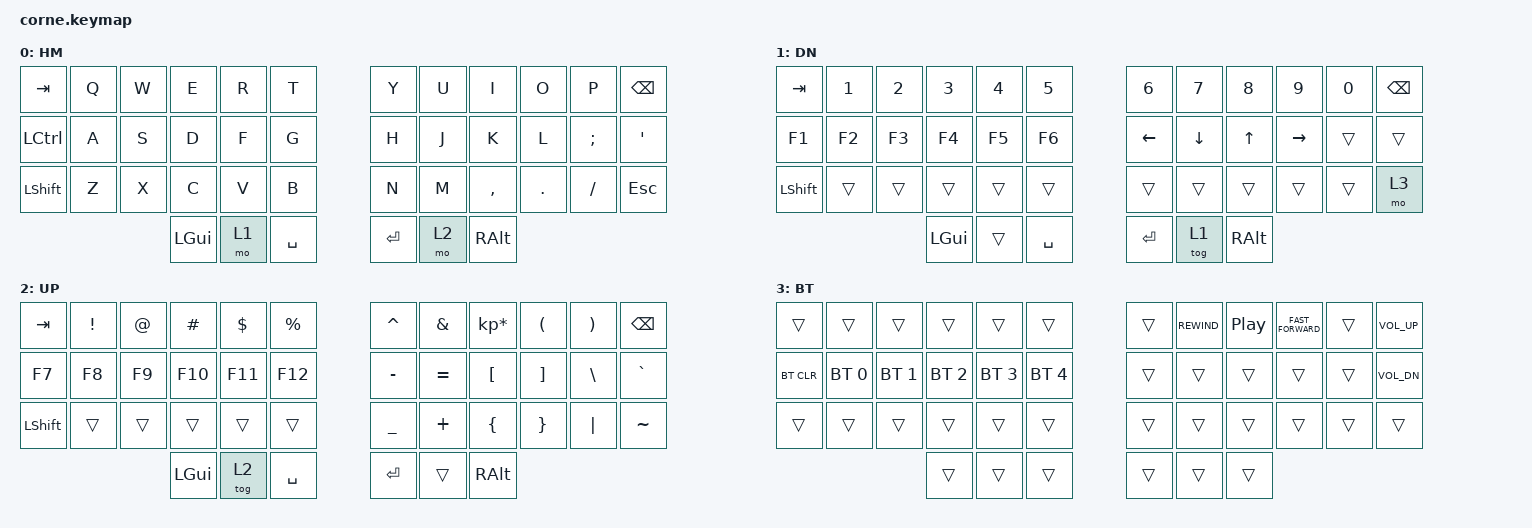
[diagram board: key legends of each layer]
/*
 * Copyright (c) 2020 The ZMK Contributors
 *
 * SPDX-License-Identifier: MIT
 */

#include <behaviors.dtsi>
#include <dt-bindings/zmk/bt.h>
#include <dt-bindings/zmk/keys.h>

/ {
    keymap {
        compatible = "zmk,keymap";

        default_layer {
            // -----------------------------------------------------------------------------------------
            // |  TAB |  Q  |  W  |  E  |  R  |  T  |   |  Y  |  U   |  I  |  O  |  P  | BKSP |
            // | CTRL |  A  |  S  |  D  |  F  |  G  |   |  H  |  J   |  K  |  L  |  ;  |  '   |
            // | SHFT |  Z  |  X  |  C  |  V  |  B  |   |  N  |  M   |  ,  |  .  |  /  | ESC  |
            //                    | GUI | LWR | SPC |   | ENT | RSE  | ALT |

            bindings = <
  &kp TAB  &kp Q  &kp W     &kp E  &kp R      &kp T      &kp Y  &kp U      &kp I    &kp O     &kp P  &kp BSPC
&kp LCTRL  &kp A  &kp S     &kp D  &kp F      &kp G      &kp H  &kp J      &kp K    &kp L  &kp SEMI   &kp SQT
&kp LSHFT  &kp Z  &kp X     &kp C  &kp V      &kp B      &kp N  &kp M  &kp COMMA  &kp DOT  &kp FSLH   &kp ESC
                         &kp LGUI  &mo 1  &kp SPACE    &kp RET  &mo 2   &kp RALT
            >;

            label = "HM";
        };

        lower_layer {
            // -----------------------------------------------------------------------------------------
            // |  TAB |  1  |  2  |  3  |  4  |  5  |   |  6  |  7  |  8  |  9  |  0  | BKSP |
            // | BTCLR| BT1 | BT2 | BT3 | BT4 | BT5 |   | LFT | DWN |  UP | RGT |     |      |
            // | SHFT |     |     |     |     |     |   |     |     |     |     |     |      |
            //                    | GUI |     | SPC |   | ENT |     | ALT |

            bindings = <
  &kp TAB  &kp N1  &kp N2    &kp N3  &kp N4     &kp N5      &kp N6    &kp N7    &kp N8     &kp N9  &kp N0  &kp BSPC
   &kp F1  &kp F2  &kp F3    &kp F4  &kp F5     &kp F6    &kp LEFT  &kp DOWN    &kp UP  &kp RIGHT  &trans    &trans
&kp LSHFT  &trans  &trans    &trans  &trans     &trans      &trans    &trans    &trans     &trans  &trans     &mo 3
                           &kp LGUI  &trans  &kp SPACE     &kp RET    &tog 1  &kp RALT
            >;

            label = "DN";
        };

        raise_layer {
            // -----------------------------------------------------------------------------------------
            // |  TAB |  !  |  @  |  #  |  $  |  %  |   |  ^  |  &  |  *  |  (  |  )  | BKSP |
            // | CTRL |     |     |     |     |     |   |  -  |  =  |  [  |  ]  |  \  |  `   |
            // | SHFT |     |     |     |     |     |   |  _  |  +  |  {  |  }  | "|" |  ~   |
            //                    | GUI |     | SPC |   | ENT |     | ALT |

            bindings = <
  &kp TAB  &kp EXCL  &kp AT  &kp HASH  &kp DLLR  &kp PRCNT    &kp CARET   &kp AMPS  &kp KP_MULTIPLY  &kp LPAR  &kp RPAR   &kp BSPC
   &kp F7    &kp F8  &kp F9   &kp F10   &kp F11    &kp F12    &kp MINUS  &kp EQUAL         &kp LBKT  &kp RBKT  &kp BSLH  &kp GRAVE
&kp LSHFT    &trans  &trans    &trans    &trans     &trans    &kp UNDER   &kp PLUS         &kp LBRC  &kp RBRC  &kp PIPE  &kp TILDE
                             &kp LGUI    &tog 2  &kp SPACE      &kp RET     &trans         &kp RALT
            >;

            label = "UP";
        };

        bt_layer {
            bindings = <
    &trans        &trans        &trans        &trans        &trans        &trans    &trans  &kp C_REWIND  &kp C_PLAY_PAUSE  &kp C_FAST_FORWARD  &trans  &kp C_VOLUME_UP
&bt BT_CLR  &bt BT_SEL 0  &bt BT_SEL 1  &bt BT_SEL 2  &bt BT_SEL 3  &bt BT_SEL 4    &trans        &trans            &trans              &trans  &trans     &kp C_VOL_DN
    &trans        &trans        &trans        &trans        &trans        &trans    &trans        &trans            &trans              &trans  &trans           &trans
                                              &trans        &trans        &trans    &trans        &trans            &trans
            >;

            label = "BT";
        };
    };
};
